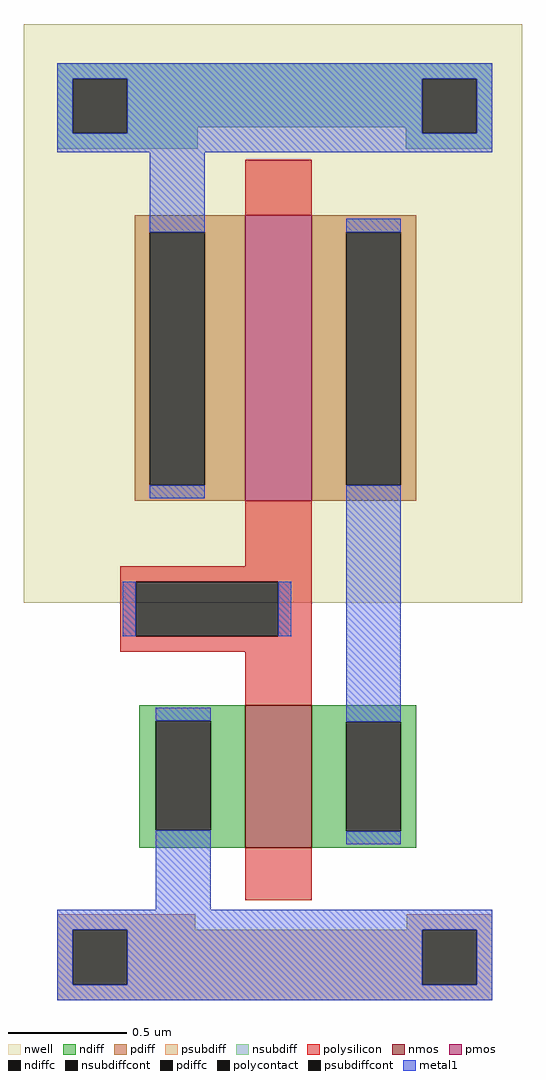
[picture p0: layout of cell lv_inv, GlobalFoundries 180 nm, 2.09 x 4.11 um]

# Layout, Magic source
magic
tech gf180mcuD
magscale 1 10
<< nwell >>
rect 16038 51147 16457 51634
<< nmos >>
rect 16224 50941 16280 51061
<< pmos >>
rect 16224 51233 16280 51473
<< ndiff >>
rect 16135 51048 16224 51061
rect 16135 50956 16149 51048
rect 16195 50956 16224 51048
rect 16135 50941 16224 50956
rect 16280 51047 16368 51061
rect 16280 50955 16309 51047
rect 16355 50955 16368 51047
rect 16280 50941 16368 50955
<< pdiff >>
rect 16131 51459 16224 51473
rect 16131 51246 16144 51459
rect 16190 51246 16224 51459
rect 16131 51233 16224 51246
rect 16280 51459 16368 51473
rect 16280 51246 16309 51459
rect 16355 51246 16368 51459
rect 16280 51233 16368 51246
<< ndiffc >>
rect 16149 50956 16195 51048
rect 16309 50955 16355 51047
<< pdiffc >>
rect 16144 51246 16190 51459
rect 16309 51246 16355 51459
<< psubdiff >>
rect 16066 50872 16182 50885
rect 16360 50872 16432 50885
rect 16066 50826 16079 50872
rect 16125 50826 16373 50872
rect 16419 50826 16432 50872
rect 16066 50813 16432 50826
<< nsubdiff >>
rect 16066 51588 16432 51601
rect 16066 51542 16079 51588
rect 16125 51547 16373 51588
rect 16125 51542 16184 51547
rect 16066 51529 16184 51542
rect 16359 51542 16373 51547
rect 16419 51542 16432 51588
rect 16359 51529 16432 51542
<< psubdiffcont >>
rect 16079 50826 16125 50872
rect 16373 50826 16419 50872
<< nsubdiffcont >>
rect 16079 51542 16125 51588
rect 16373 51542 16419 51588
<< polysilicon >>
rect 16224 51473 16280 51520
rect 16224 51178 16280 51233
rect 16119 51165 16280 51178
rect 16119 51119 16132 51165
rect 16252 51119 16280 51165
rect 16119 51106 16280 51119
rect 16224 51061 16280 51106
rect 16224 50897 16280 50941
<< polycontact >>
rect 16132 51119 16252 51165
<< metal1 >>
rect 16066 51588 16432 51601
rect 16066 51542 16079 51588
rect 16125 51542 16373 51588
rect 16419 51542 16432 51588
rect 16066 51526 16432 51542
rect 16144 51459 16190 51526
rect 16144 51235 16190 51246
rect 16309 51459 16355 51470
rect 16121 51119 16132 51165
rect 16252 51119 16263 51165
rect 16149 51048 16195 51059
rect 16149 50889 16195 50956
rect 16309 51047 16355 51246
rect 16309 50944 16355 50955
rect 16066 50872 16432 50889
rect 16066 50826 16079 50872
rect 16125 50826 16373 50872
rect 16419 50826 16432 50872
rect 16066 50813 16432 50826
<< end >>
